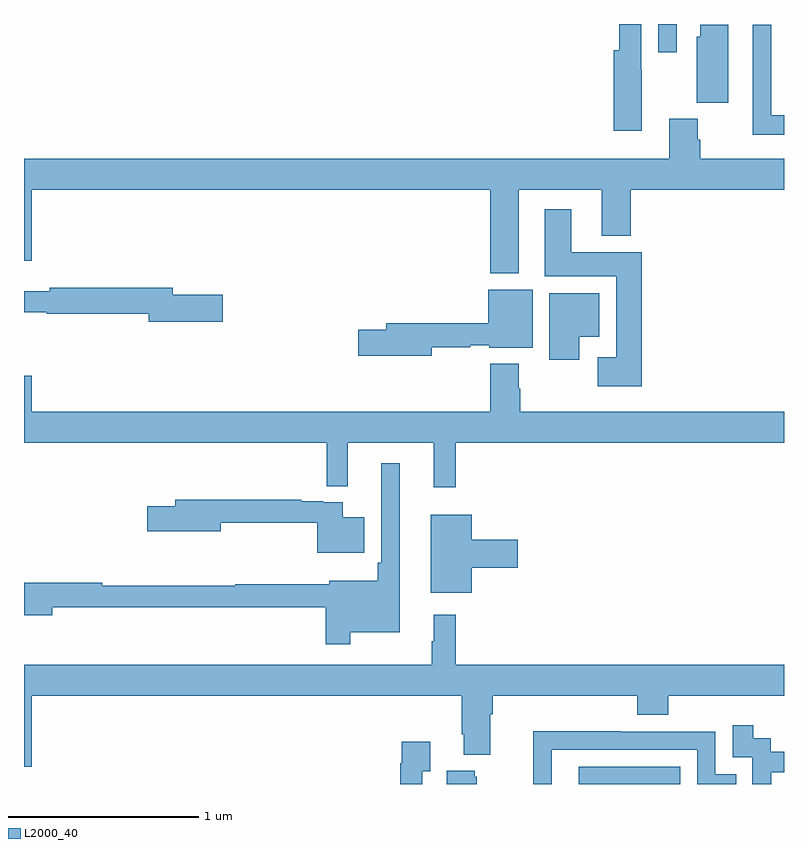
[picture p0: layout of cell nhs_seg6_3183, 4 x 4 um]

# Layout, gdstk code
import gdstk
lib = gdstk.Library(unit=1e-6, precision=1e-09)
def R(c, l, rs):  # rectangles x0, y0, x1, y1
    for r in rs: c.add(gdstk.rectangle(r[:2], r[2:], *l))
def P(c, l, *ps):  # polygons
    for p in ps: c.add(gdstk.Polygon(p, *l))
L2000_40 = (2000, 40)

nhs_seg6_3183 = lib.new_cell('nhs_seg6_3183')
R(nhs_seg6_3183, L2000_40, [(299.919,985.5,300.453,985.59), (300.339,989.352,300.435,989.5)])
P(nhs_seg6_3183, L2000_40, [(300.25,989.258),(300.249,989.258),(300.249,989.5),(300.133,989.5),(300.133,989.362),(300.104,989.362),(300.104,988.938),(300.25,988.938)],
  [(301,989.02),(300.933,989.02),(300.933,989.497),(300.836,989.497),(300.836,988.916),(301,988.916)],
  [(300.706,989.497),(300.56,989.497),(300.56,989.433),(300.542,989.433),(300.542,989.086),(300.706,989.086)],
  [(300.395,989.001),(300.395,988.792),(297,988.792),(297,988.254),(297.04,988.254),(297.04,988.628),(299.453,988.628),(299.453,988.187),(299.605,988.187),(299.605,988.628),(300.041,988.628),(300.041,988.385),(300.194,988.385),(300.194,988.628),(301,988.628),(301,988.792),(300.56,988.792),(300.56,988.892),(300.547,988.892),(300.547,989.001)],
  [(300.251,988.3),(299.881,988.3),(299.881,988.525),(299.741,988.525),(299.741,988.172),(300.116,988.172),(300.116,987.745),(300.021,987.745),(300.021,987.593),(300.251,987.593)],
  [(298.045,988.076),(297.784,988.076),(297.784,988.112),(297.136,988.112),(297.136,988.093),(297,988.093),(297,987.984),(297.12,987.984),(297.12,987.976),(297.656,987.976),(297.656,987.934),(298.045,987.934)],
  [(299.146,987.798),(299.348,987.798),(299.348,987.81),(299.448,987.81),(299.448,987.797),(299.677,987.797),(299.677,988.102),(299.444,988.102),(299.444,987.926),(298.907,987.926),(298.907,987.89),(298.758,987.89),(298.758,987.755),(299.146,987.755)],
  [(299.923,987.854),(300.028,987.854),(300.028,988.084),(299.765,988.084),(299.765,987.732),(299.923,987.732)],
  [(299.273,987.296),(301,987.296),(301,987.46),(299.613,987.46),(299.613,987.581),(299.605,987.581),(299.605,987.712),(299.453,987.712),(299.453,987.46),(297.04,987.46),(297.04,987.649),(297,987.649),(297,987.296),(298.594,987.296),(298.594,987.067),(298.703,987.067),(298.703,987.296),(299.156,987.296),(299.156,987.063),(299.273,987.063)],
  [(298.717,986.3),(298.978,986.3),(298.978,987.187),(298.881,987.187),(298.881,986.665),(298.861,986.665),(298.861,986.569),(298.607,986.569),(298.607,986.551),(298.111,986.551),(298.111,986.543),(297.413,986.543),(297.413,986.558),(297,986.558),(297,986.387),(297.148,986.387),(297.148,986.43),(298.588,986.43),(298.588,986.235),(298.717,986.235)],
  [(298.792,986.905),(298.678,986.905),(298.678,986.982),(298.574,986.982),(298.574,986.988),(298.46,986.988),(298.46,986.995),(297.797,986.995),(297.797,986.961),(297.648,986.961),(297.648,986.831),(298.036,986.831),(298.036,986.874),(298.544,986.874),(298.544,986.717),(298.792,986.717)],
  [(299.356,986.639),(299.599,986.639),(299.599,986.786),(299.356,986.786),(299.356,986.917),(299.141,986.917),(299.141,986.507),(299.356,986.507)],
  [(297.04,985.964),(299.303,985.964),(299.303,985.762),(299.315,985.762),(299.315,985.655),(299.455,985.655),(299.455,985.868),(299.468,985.868),(299.468,985.964),(300.227,985.964),(300.227,985.865),(300.392,985.865),(300.392,985.964),(301,985.964),(301,986.128),(299.273,986.128),(299.273,986.392),(299.156,986.392),(299.156,986.252),(299.145,986.252),(299.145,986.128),(297,986.128),(297,985.59),(297.04,985.59)],
  [(300.932,985.563),(301,985.563),(301,985.671),(300.93,985.671),(300.93,985.74),(300.838,985.74),(300.838,985.81),(300.729,985.81),(300.729,985.641),(300.834,985.641),(300.834,985.5),(300.932,985.5)],
  [(299.778,985.68),(300.543,985.68),(300.543,985.5),(300.749,985.5),(300.749,985.551),(300.639,985.551),(300.639,985.776),(300.143,985.776),(300.143,985.778),(299.68,985.778),(299.68,985.5),(299.778,985.5)],
  [(299.097,985.567),(299.137,985.567),(299.137,985.723),(298.989,985.723),(298.989,985.61),(298.981,985.61),(298.981,985.5),(299.097,985.5)],
  [(299.383,985.539),(299.372,985.539),(299.372,985.57),(299.225,985.57),(299.225,985.5),(299.383,985.5)])

lib.write_gds('nhs_seg6_3183.gds')
